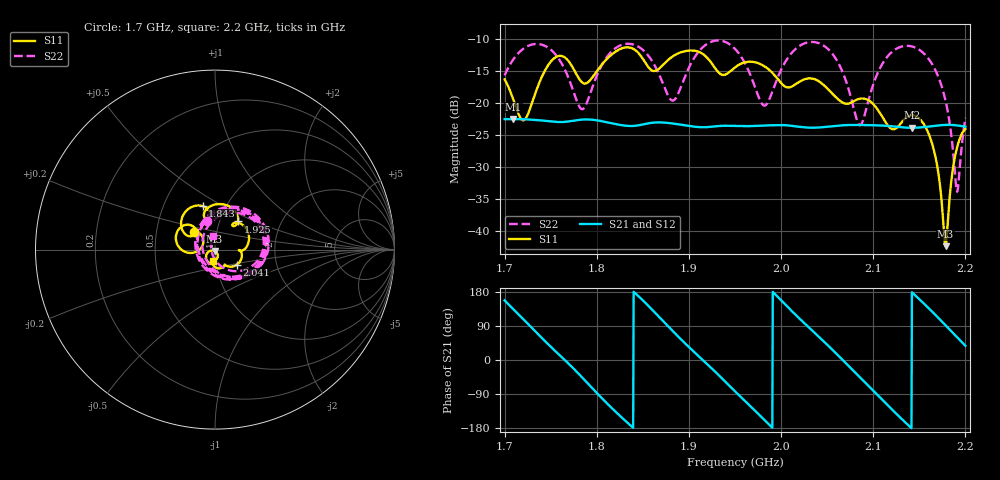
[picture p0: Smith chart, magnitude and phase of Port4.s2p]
# Hz S RI R 50
! CMT, CMT808U, 21440046, 21.4.3/4
! Date: 6/12/2026 9:26:21 AM
! Data: Format (Calibration Info)
! Freq	S11:Re/Im(F2)	S41:Re/Im(F2)	S14:Re/Im(F2)	S44:Re/Im(F2)
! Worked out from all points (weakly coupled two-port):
!   1001 points, 1.7 GHz to 2.2 GHz, reference 50 ohm
!   highest |S21| = -22.52 dB at 1.71 GHz (marker M1); lowest = -23.9 dB at 2.142 GHz (marker M2)
!   lowest |S11| = -42.3 dB at 2.179 GHz (marker M3), VSWR 1.02, Z = 49.7 - j0.712 ohm
!   |S11| at or under -10 dB: start of sweep to end of sweep
!   |S22| runs from -33.8 to -10.3 dB; largest |S21 - S12| = 0.0012
!   S11 on the Smith chart (normalised r, x): 1.7 GHz: 0.78, +0.16; 1.843 GHz: 0.78, +0.40; 1.925 GHz: 1.22, +0.40; 2.041 GHz: 1.26, -0.22; 2.2 GHz: 0.97, -0.12
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1.7e9  -0.1145 0.1007  -0.0689 0.0288  -0.069 0.0277  -0.0449 0.1576
1.7095e9  -0.0731 0.0766  -0.0521 0.0537  -0.0526 0.0527  0.0403 0.2148
1.722e9  -0.0721 0.0178  -0.0172 0.0725  -0.0181 0.0719  0.1747 0.2051
1.743e9  -0.1742 -0.00893  0.0449 0.0572  0.0438 0.0575  0.2795 0.0125
1.7835e9  -0.1077 0.0983  0.053 -0.0518  0.0536 -0.0508  -0.079 -0.042
1.8135e9  -0.1881 0.1305  -0.0353 -0.0606  -0.0342 -0.0609  0.0844 0.2249
1.8435e9  -0.0685 0.2426  -0.066 0.00899  -0.0658 0.00798  0.2774 -0.0216
1.867e9  -0.0547 0.175  -0.0299 0.0639  -0.0307 0.0632  0.049 -0.1635
1.8835e9  -0.0439 0.229  0.0195 0.0661  0.0184 0.0662  -0.1027 -0.0206
1.925e9  0.1275 0.1569  0.0603 -0.0251  0.0606 -0.024  0.2429 0.1777
1.95e9  0.1145 0.1505  0.00848 -0.0655  0.00958 -0.0652  0.2429 -0.1026
1.982e9  0.1877 0.044  -0.0619 -0.0246  -0.0613 -0.0256  -0.0905 -0.0294
2.0085e9  0.132 -0.00277  -0.0486 0.0457  -0.0492 0.0447  0.0584 0.2227
2.0335e9  0.1416 -0.0624  0.0129 0.0628  0.0117 0.0629  0.2861 0.0851
2.0405e9  0.1219 -0.0844  0.0297 0.0571  0.0287 0.0575  0.2925 0.00745
2.0855e9  0.0421 -0.0994  0.0469 -0.0482  0.0476 -0.0474  -0.0645 -0.0184
2.117e9  -0.0104 -0.0644  -0.0356 -0.0557  -0.0345 -0.0562  0.118 0.2052
2.142e9  -0.0272 -0.0754  -0.064 0.00127  -0.0639 0.000142  0.2716 0.0455
2.1645e9  -0.0426 -0.0189  -0.039 0.0532  -0.0399 0.0525  0.1608 -0.1142
2.1785e9  -0.0027 -0.00716  -0.00171 0.0674  -0.0029 0.0673  0.0388 -0.0961
2.191e9  0.0143 -0.0428  0.0337 0.0576  0.0327 0.0582  -0.02 -0.00333
2.2e9  -0.00943 -0.0618  0.0518 0.0398  0.051 0.0407  -0.00956 0.0759
